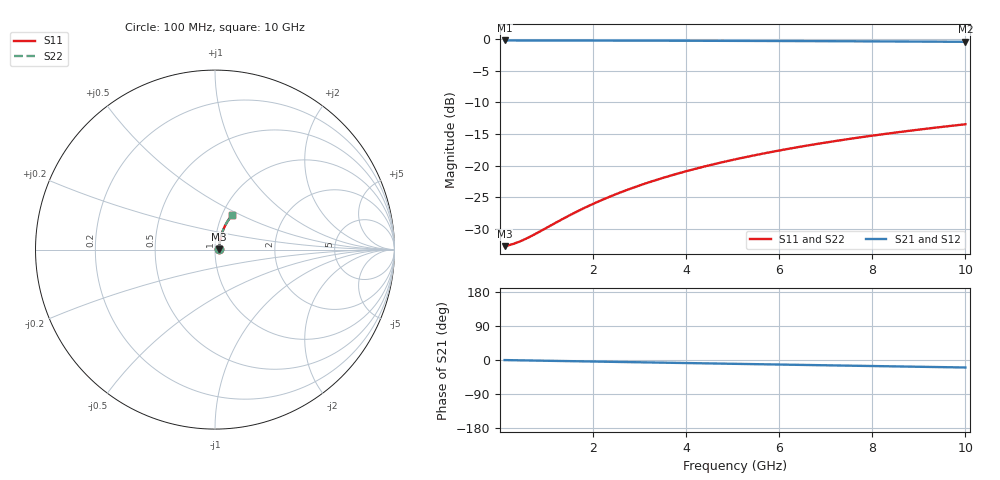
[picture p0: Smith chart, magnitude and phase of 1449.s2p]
# Hz S RI R 50.00
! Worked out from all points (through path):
!   100 points, 100 MHz to 10 GHz, reference 50 ohm
!   highest |S21| = -0.20 dB at 100 MHz (marker M1); lowest = -0.4 dB at 10 GHz (marker M2)
!   group delay of S21, straight-line fit = 5.5 ps
!   lowest |S11| = -32.8 dB at 100 MHz (marker M3), VSWR 1.05, Z = 52.3 + j0.221 ohm
!   |S11| at or under -10 dB: start of sweep to end of sweep
!   |S22| runs from -32.8 to -13.5 dB; largest |S21 - S12| = 0
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1e8  0.0229 0.00211  0.9771 -0.00343  0.9771 -0.00343  0.0229 0.00211
2e8  0.0231 0.00421  0.9769 -0.00685  0.9769 -0.00685  0.0231 0.00421
3e8  0.0232 0.00631  0.9767 -0.0103  0.9767 -0.0103  0.0232 0.00631
4e8  0.0234 0.00841  0.9766 -0.0137  0.9766 -0.0137  0.0234 0.00841
6e8  0.0237 0.0126  0.9763 -0.0205  0.9763 -0.0205  0.0237 0.0126
8e8  0.024 0.0168  0.9759 -0.0274  0.9759 -0.0274  0.024 0.0168
1.4e9  0.0252 0.0294  0.9746 -0.0479  0.9746 -0.0479  0.0252 0.0294
1.8e9  0.0263 0.0377  0.9734 -0.0615  0.9734 -0.0615  0.0263 0.0377
2.2e9  0.0276 0.046  0.972 -0.075  0.972 -0.075  0.0276 0.046
2.6e9  0.0291 0.0542  0.9703 -0.0886  0.9703 -0.0886  0.0291 0.0542
3e9  0.0308 0.0624  0.9684 -0.1021  0.9684 -0.1021  0.0308 0.0624
3.4e9  0.0327 0.0705  0.9662 -0.1155  0.9662 -0.1155  0.0327 0.0705
3.8e9  0.0349 0.0786  0.9638 -0.1288  0.9638 -0.1288  0.0349 0.0786
4.2e9  0.0373 0.0866  0.9611 -0.1421  0.9611 -0.1421  0.0373 0.0866
4.6e9  0.0399 0.0945  0.9582 -0.1553  0.9582 -0.1553  0.0399 0.0945
5.1e9  0.0434 0.1043  0.9542 -0.1717  0.9542 -0.1717  0.0434 0.1043
5.9e9  0.0498 0.1195  0.9471 -0.1976  0.9471 -0.1976  0.0498 0.1195
6.7e9  0.0569 0.1344  0.939 -0.2231  0.939 -0.2231  0.0569 0.1344
7.5e9  0.0648 0.1488  0.9301 -0.2481  0.9301 -0.2481  0.0648 0.1488
8.4e9  0.0746 0.1643  0.919 -0.2756  0.919 -0.2756  0.0746 0.1643
9.2e9  0.084 0.1775  0.9083 -0.2994  0.9083 -0.2994  0.084 0.1775
1e10  0.0941 0.1901  0.8969 -0.3227  0.8969 -0.3227  0.0941 0.1901
